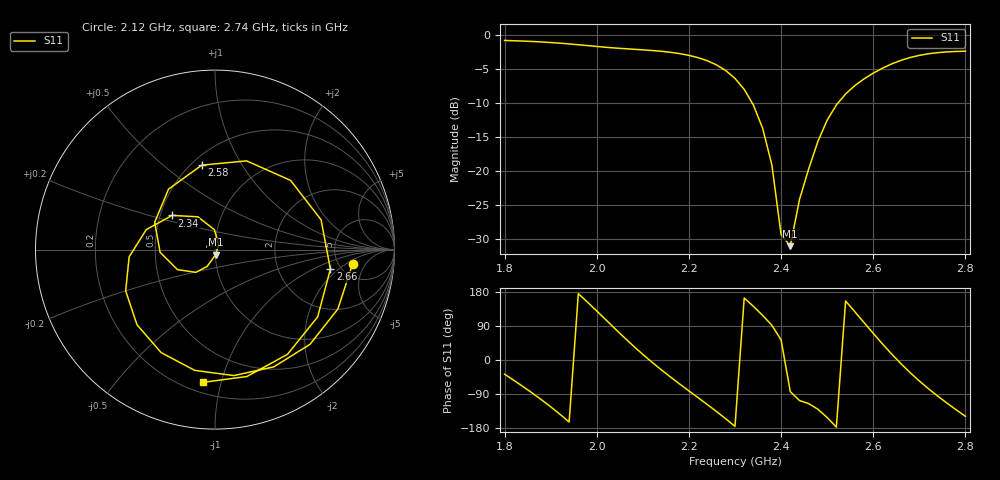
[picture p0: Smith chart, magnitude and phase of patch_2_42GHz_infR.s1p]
! Touchstone file exported from HFSS 2024.1.0
!  File:  /home/ubuntu/Ansoft/repo/patch_2_42GHz/sim_2_42GHz_2.aedt
!  Generated:  08:59:40 AM Nov 11, 2024
!  Design:  HFSSDesign1
!  Project:  sim_2_42GHz_2
!  Setup:  Setup1
!  Solution:  Sweep
! Variables:
!  R0 = 1000000ohm
!  pad = 45mm
# GHz S MA R 50.000000
! Terminal data exported
! Port[1] = u141_0711_201_1_pin_T1
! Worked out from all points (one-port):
!   51 points, 1.8 GHz to 2.8 GHz, reference 50 ohm
!   lowest |S11| = -31.1 dB at 2.42 GHz (marker M1), VSWR 1.06, Z = 50.2 - j2.79 ohm
!   |S11| at or under -10 dB: 2.337 GHz to 2.523 GHz (186.1 MHz wide, 7.66 % of centre)
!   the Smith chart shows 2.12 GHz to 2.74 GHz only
!   S11 on the Smith chart (normalised r, x): 2.12 GHz: 6.66, -2.63; 2.34 GHz: 0.58, +0.24; 2.58 GHz: 0.56, +0.68; 2.66 GHz: 4.13, -1.56; 2.74 GHz: 0.26, -0.88
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1.8  0.9135 -37.5
1.84  0.9039 -70.1
1.88  0.8906 -105.0
1.94  0.8615 -163.5
1.96  0.8497 175.0
2  0.8252 129.3
2.02  0.8138 105.8
2.06  0.7949 58.9
2.1  0.7791 14.7
2.12  0.7706 -6.0
2.18  0.7309 -63.4
2.24  0.6476 -117.6
2.3  0.4802 -175.2
2.34  0.3054 141.4
2.38  0.1109 91.7
2.4  0.03408 53.0
2.42  0.02797 -83.6
2.44  0.06173 -107.0
2.5  0.2367 -151.8
2.54  0.3689 155.7
2.56  0.4249 127.5
2.58  0.4763 98.9
2.62  0.571 42.5
2.66  0.6519 -9.6
2.68  0.684 -33.2
2.72  0.7291 -75.9
2.74  0.7431 -95.3
2.8  0.761 -148.6
